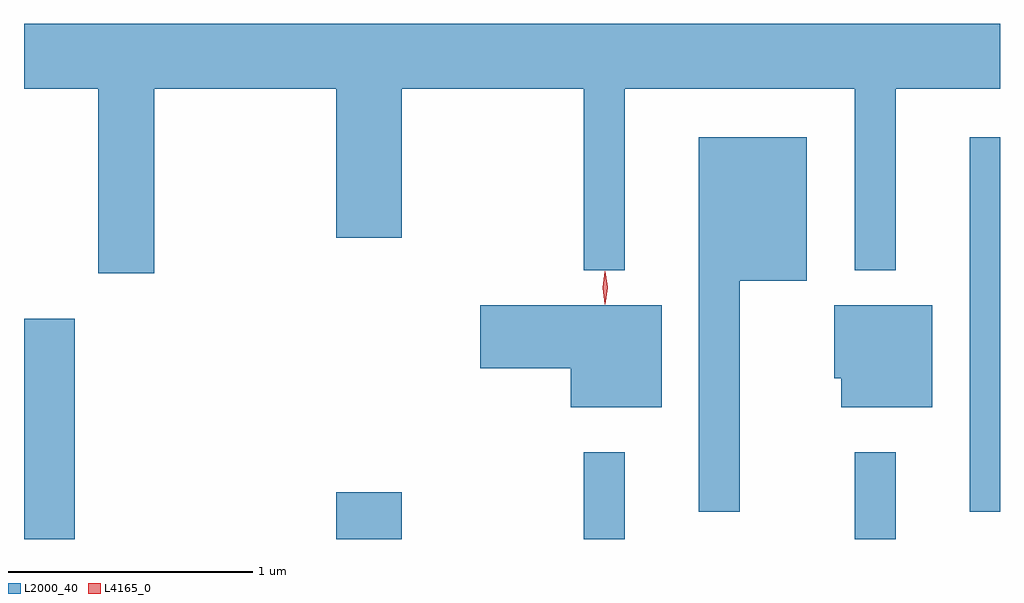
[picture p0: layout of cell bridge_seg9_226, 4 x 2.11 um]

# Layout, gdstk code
import gdstk
lib = gdstk.Library(unit=1e-6, precision=1e-09)
def R(c, l, rs):  # rectangles x0, y0, x1, y1
    for r in rs: c.add(gdstk.rectangle(r[:2], r[2:], *l))
def P(c, l, *ps):  # polygons
    for p in ps: c.add(gdstk.Polygon(p, *l))
L2000_40 = (2000, 40)
L4165_0 = (4165, 0)

bridge_seg9_226 = lib.new_cell('bridge_seg9_226')
R(bridge_seg9_226, L2000_40, [(1452.556,1987.75,1452.764,1988.654), (1453.836,1987.75,1454.104,1987.944), (1454.851,1987.75,1455.019,1988.108), (1455.961,1987.75,1456.129,1988.108), (1456.431,1987.863,1456.556,1989.399)])
P(bridge_seg9_226, L2000_40, [(1452.556,1989.596),(1452.861,1989.596),(1452.861,1988.841),(1453.089,1988.841),(1453.089,1989.596),(1453.836,1989.596),(1453.836,1988.986),(1454.104,1988.986),(1454.104,1989.596),(1454.851,1989.596),(1454.851,1988.853),(1455.019,1988.853),(1455.019,1989.596),(1455.961,1989.596),(1455.961,1988.853),(1456.129,1988.853),(1456.129,1989.596),(1456.556,1989.596),(1456.556,1989.864),(1452.556,1989.864)],
  [(1455.489,1988.811),(1455.764,1988.811),(1455.764,1989.399),(1455.321,1989.399),(1455.321,1987.863),(1455.489,1987.863)],
  [(1455.169,1988.709),(1454.426,1988.709),(1454.426,1988.451),(1454.796,1988.451),(1454.796,1988.291),(1455.169,1988.291)],
  [(1456.279,1988.709),(1455.876,1988.709),(1455.876,1988.411),(1455.906,1988.411),(1455.906,1988.291),(1456.279,1988.291)])
P(bridge_seg9_226, L4165_0, [(1454.937,1988.72),(1454.928,1988.783),(1454.937,1988.846),(1454.937,1988.847),(1454.938,1988.846),(1454.948,1988.783),(1454.938,1988.72),(1454.938,1988.72)],
  [(1454.937,1988.714),(1454.928,1988.782),(1454.937,1988.85),(1454.937,1988.85),(1454.938,1988.85),(1454.948,1988.782),(1454.938,1988.714),(1454.938,1988.714)])

lib.write_gds('bridge_seg9_226.gds')
